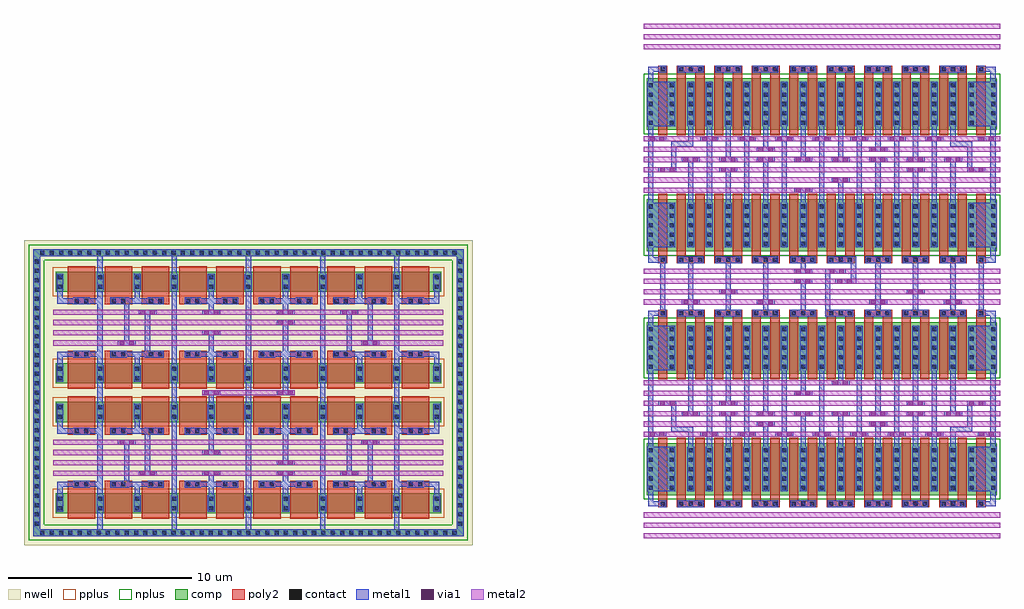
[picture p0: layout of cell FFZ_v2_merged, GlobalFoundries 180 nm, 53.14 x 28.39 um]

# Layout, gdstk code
from math import pi, radians
import gdstk
lib = gdstk.Library(unit=1e-6, precision=5e-09)
def R(c, l, rs):  # rectangles x0, y0, x1, y1
    for r in rs: c.add(gdstk.rectangle(r[:2], r[2:], *l))
def A(c, l, x, y, w, h, nx, ny, dx, dy):  # array of equal rectangles
    R(c, l, [(x+i*dx, y+j*dy, x+i*dx+w, y+j*dy+h) for i in range(nx) for j in range(ny)])
nwell = (21, 0)
comp = (22, 0)
poly2 = (30, 0)
pplus = (31, 0)
nplus = (32, 0)
contact = (33, 0)
metal1 = (34, 0)
via1 = (35, 0)
metal2 = (36, 0)

pfet = lib.new_cell('pfet')
R(pfet, nwell, [(-0.9,-0.44,20.96,1.54)])
R(pfet, comp, [(-0.46,0,0,1.1), (0,0,20.06,1.1), (20.06,0,20.52,1.1)])
A(pfet, poly2, 0.19, -0.3, 1.5, 1.7, 10, 1, 2.02, 0)
A(pfet, poly2, 0.19, 1.4, 1.5, 0.38, 10, 1, 2.02, 0)
R(pfet, pplus, [(-0.63,-0.24,20.69,1.34)])
A(pfet, contact, 1.84, 0.185, 0.22, 0.22, 9, 2, 2.02, 0.51)
R(pfet, contact, [(-0.34,0.185,-0.12,0.405), (20.18,0.185,20.4,0.405), (-0.34,0.695,-0.12,0.915), (20.18,0.695,20.4,0.915), (0.575,1.48,0.795,1.7), (1.085,1.48,1.305,1.7), (2.595,1.48,2.815,1.7), (3.105,1.48,3.325,1.7), (4.615,1.48,4.835,1.7), (5.125,1.48,5.345,1.7), (6.635,1.48,6.855,1.7), (7.145,1.48,7.365,1.7), (8.655,1.48,8.875,1.7), (9.165,1.48,9.385,1.7), (10.675,1.48,10.895,1.7), (11.185,1.48,11.405,1.7), (12.695,1.48,12.915,1.7), (13.205,1.48,13.425,1.7), (14.715,1.48,14.935,1.7), (15.225,1.48,15.445,1.7), (16.735,1.48,16.955,1.7), (17.245,1.48,17.465,1.7), (18.755,1.48,18.975,1.7), (19.265,1.48,19.485,1.7)])
A(pfet, metal1, 1.76, 0.105, 0.38, 0.89, 9, 1, 2.02, 0)
A(pfet, metal1, 0.495, 1.4, 0.89, 0.38, 10, 1, 2.02, 0)
R(pfet, metal1, [(-0.42,0.105,-0.04,0.995), (20.1,0.105,20.48,0.995)])

m1_m2 = lib.new_cell('M1_M2')
R(m1_m2, via1, [(0.1,0.01,0.36,0.27), (0.62,0.01,0.88,0.27)])
m1_m2.add(gdstk.FlexPath([(0,0.14),(0.98,0.14)], 0.28, ends="flush", simple_path=True, layer=36, datatype=0))  # metal2
m1_m2.add(gdstk.FlexPath([(0,0.14),(0.98,0.14)], 0.28, ends="flush", simple_path=True, layer=34, datatype=0))  # metal1

nfet = lib.new_cell('nfet')
R(nfet, comp, [(-0.42,0,0,2.82), (0,0,18.22,2.82), (18.22,0,18.64,2.82)])
A(nfet, poly2, 0.19, -0.3, 0.5, 3.42, 18, 1, 1.02, 0)
A(nfet, poly2, 0.19, 3.12, 0.5, 0.36, 18, 1, 1.02, 0)
R(nfet, nplus, [(-0.59,-0.24,18.81,3.06)])
A(nfet, contact, -0.32, 0.28, 0.22, 0.22, 1, 5, 0, 0.51)
A(nfet, contact, 0.84, 0.28, 0.22, 0.22, 17, 5, 1.02, 0.51)
A(nfet, contact, 18.32, 0.28, 0.22, 0.22, 1, 5, 0, 0.51)
A(nfet, contact, 0.33, 3.19, 0.22, 0.22, 18, 1, 1.02, 0)
A(nfet, metal1, 0.76, 0.2, 0.38, 2.42, 17, 1, 1.02, 0)
A(nfet, metal1, 0.25, 3.11, 0.38, 0.38, 18, 1, 1.02, 0)
R(nfet, metal1, [(-0.4,0.2,-0.02,2.62), (18.24,0.2,18.62,2.62)])

ffz_v2_merged = lib.new_cell('FFZ_v2_merged')
R(ffz_v2_merged, nwell, [(2.015,0.67,26.455,17.29), (3.305,1.96,25.165,16)])
A(ffz_v2_merged, poly2, 38.055, 2.745, 0.52, 0.36, 8, 2, 2.04, 10.38)
A(ffz_v2_merged, poly2, 38.055, 16.025, 0.52, 0.36, 8, 2, 2.04, 10.38)
A(ffz_v2_merged, contact, 2.905, 1.25, 0.22, 0.22, 45, 2, 0.51, 15.24)
A(ffz_v2_merged, contact, 2.595, 1.73, 0.22, 0.22, 1, 29, 0, 0.51)
A(ffz_v2_merged, contact, 25.655, 1.73, 0.22, 0.22, 1, 29, 0, 0.51)
A(ffz_v2_merged, contact, 38.205, 2.815, 0.22, 0.22, 8, 2, 2.04, 10.38)
A(ffz_v2_merged, contact, 38.205, 16.095, 0.22, 0.22, 8, 2, 2.04, 10.38)
A(ffz_v2_merged, metal1, 37.995, 2.735, 0.64, 0.38, 8, 2, 2.04, 10.38)
A(ffz_v2_merged, metal1, 37.995, 16.015, 0.64, 0.38, 8, 2, 2.04, 10.38)
R(ffz_v2_merged, metal1, [(36.325,3.605,37.105,6.025), (53.805,3.605,54.585,6.025), (36.325,10.205,37.105,12.625), (53.805,10.205,54.585,12.625), (36.325,16.885,37.105,19.305), (53.805,16.885,54.585,19.305), (36.325,23.485,37.105,25.905), (53.805,23.485,54.585,25.905)])
ffz_v2_merged.add(gdstk.FlexPath([(3.615,4.6),(24.855,4.6)], 0.28, ends="flush", simple_path=True, layer=36, datatype=0))  # metal2
ffz_v2_merged.add(gdstk.FlexPath([(3.615,5.16),(24.855,5.16)], 0.28, ends="flush", simple_path=True, layer=36, datatype=0))  # metal2
ffz_v2_merged.add(gdstk.FlexPath([(3.615,5.72),(24.855,5.72)], 0.28, ends="flush", simple_path=True, layer=36, datatype=0))  # metal2
ffz_v2_merged.add(gdstk.FlexPath([(3.615,6.28),(24.855,6.28)], 0.28, ends="flush", simple_path=True, layer=36, datatype=0))  # metal2
ffz_v2_merged.add(gdstk.FlexPath([(3.615,13.36),(24.855,13.36)], 0.28, ends="flush", simple_path=True, layer=36, datatype=0))  # metal2
ffz_v2_merged.add(gdstk.FlexPath([(3.615,12.8),(24.855,12.8)], 0.28, ends="flush", simple_path=True, layer=36, datatype=0))  # metal2
ffz_v2_merged.add(gdstk.FlexPath([(3.615,12.24),(24.855,12.24)], 0.28, ends="flush", simple_path=True, layer=36, datatype=0))  # metal2
ffz_v2_merged.add(gdstk.FlexPath([(3.615,11.68),(24.855,11.68)], 0.28, ends="flush", simple_path=True, layer=36, datatype=0))  # metal2
ffz_v2_merged.add(gdstk.FlexPath([(12.705,8.98),(15.765,8.98)], 0.28, ends="flush", simple_path=True, layer=36, datatype=0))  # metal2
ffz_v2_merged.add(gdstk.FlexPath([(35.755,9.515),(55.155,9.515)], 0.28, ends="flush", simple_path=True, layer=36, datatype=0))  # metal2
ffz_v2_merged.add(gdstk.FlexPath([(35.755,8.395),(55.155,8.395)], 0.28, ends="flush", simple_path=True, layer=36, datatype=0))  # metal2
ffz_v2_merged.add(gdstk.FlexPath([(35.755,8.955),(55.155,8.955)], 0.28, ends="flush", simple_path=True, layer=36, datatype=0))  # metal2
ffz_v2_merged.add(gdstk.FlexPath([(35.755,7.835),(55.155,7.835)], 0.28, ends="flush", simple_path=True, layer=36, datatype=0))  # metal2
ffz_v2_merged.add(gdstk.FlexPath([(35.755,6.715),(55.155,6.715)], 0.28, ends="flush", simple_path=True, layer=36, datatype=0))  # metal2
ffz_v2_merged.add(gdstk.FlexPath([(35.755,7.275),(55.155,7.275)], 0.28, ends="flush", simple_path=True, layer=36, datatype=0))  # metal2
ffz_v2_merged.add(gdstk.FlexPath([(35.755,13.915),(55.155,13.915)], 0.28, ends="flush", simple_path=True, layer=36, datatype=0))  # metal2
ffz_v2_merged.add(gdstk.FlexPath([(35.755,14.475),(55.155,14.475)], 0.28, ends="flush", simple_path=True, layer=36, datatype=0))  # metal2
ffz_v2_merged.add(gdstk.FlexPath([(35.755,15.035),(55.155,15.035)], 0.28, ends="flush", simple_path=True, layer=36, datatype=0))  # metal2
ffz_v2_merged.add(gdstk.FlexPath([(35.755,15.595),(55.155,15.595)], 0.28, ends="flush", simple_path=True, layer=36, datatype=0))  # metal2
ffz_v2_merged.add(gdstk.FlexPath([(35.755,22.235),(55.155,22.235)], 0.28, ends="flush", simple_path=True, layer=36, datatype=0))  # metal2
ffz_v2_merged.add(gdstk.FlexPath([(35.755,22.795),(55.155,22.795)], 0.28, ends="flush", simple_path=True, layer=36, datatype=0))  # metal2
ffz_v2_merged.add(gdstk.FlexPath([(35.755,21.675),(55.155,21.675)], 0.28, ends="flush", simple_path=True, layer=36, datatype=0))  # metal2
ffz_v2_merged.add(gdstk.FlexPath([(35.755,20.555),(55.155,20.555)], 0.28, ends="flush", simple_path=True, layer=36, datatype=0))  # metal2
ffz_v2_merged.add(gdstk.FlexPath([(35.755,21.115),(55.155,21.115)], 0.28, ends="flush", simple_path=True, layer=36, datatype=0))  # metal2
ffz_v2_merged.add(gdstk.FlexPath([(35.755,19.995),(55.155,19.995)], 0.28, ends="flush", simple_path=True, layer=36, datatype=0))  # metal2
ffz_v2_merged.add(gdstk.FlexPath([(35.755,2.315),(55.155,2.315)], 0.28, ends="flush", simple_path=True, layer=36, datatype=0))  # metal2
ffz_v2_merged.add(gdstk.FlexPath([(35.755,1.755),(55.155,1.755)], 0.28, ends="flush", simple_path=True, layer=36, datatype=0))  # metal2
ffz_v2_merged.add(gdstk.FlexPath([(35.755,1.195),(55.155,1.195)], 0.28, ends="flush", simple_path=True, layer=36, datatype=0))  # metal2
ffz_v2_merged.add(gdstk.FlexPath([(35.755,28.925),(55.155,28.925)], 0.28, ends="flush", simple_path=True, layer=36, datatype=0))  # metal2
ffz_v2_merged.add(gdstk.FlexPath([(35.755,28.365),(55.155,28.365)], 0.28, ends="flush", simple_path=True, layer=36, datatype=0))  # metal2
ffz_v2_merged.add(gdstk.FlexPath([(35.755,27.805),(55.155,27.805)], 0.28, ends="flush", simple_path=True, layer=36, datatype=0))  # metal2
ffz_v2_merged.add(gdstk.FlexPath([(3.975,14.565),(3.975,13.97),(4.7,13.97)], 0.28, ends="flush", simple_path=True, layer=34, datatype=0))  # metal1
ffz_v2_merged.add(gdstk.FlexPath([(7.61,13.97),(8.74,13.97)], 0.28, ends="flush", simple_path=True, layer=34, datatype=0))  # metal1
ffz_v2_merged.add(gdstk.FlexPath([(8.175,14.565),(8.175,13.83)], 0.28, ends="flush", simple_path=True, layer=34, datatype=0))  # metal1
ffz_v2_merged.add(gdstk.FlexPath([(11.65,13.97),(12.78,13.97)], 0.28, ends="flush", simple_path=True, layer=34, datatype=0))  # metal1
ffz_v2_merged.add(gdstk.FlexPath([(12.215,14.565),(12.215,13.83)], 0.28, ends="flush", simple_path=True, layer=34, datatype=0))  # metal1
ffz_v2_merged.add(gdstk.FlexPath([(15.69,13.97),(16.82,13.97)], 0.28, ends="flush", simple_path=True, layer=34, datatype=0))  # metal1
ffz_v2_merged.add(gdstk.FlexPath([(16.255,14.565),(16.255,13.83)], 0.28, ends="flush", simple_path=True, layer=34, datatype=0))  # metal1
ffz_v2_merged.add(gdstk.FlexPath([(19.73,13.97),(20.86,13.97)], 0.28, ends="flush", simple_path=True, layer=34, datatype=0))  # metal1
ffz_v2_merged.add(gdstk.FlexPath([(20.295,14.565),(20.295,13.83)], 0.28, ends="flush", simple_path=True, layer=34, datatype=0))  # metal1
ffz_v2_merged.add(gdstk.FlexPath([(24.495,14.565),(24.495,13.97),(23.77,13.97)], 0.28, ends="flush", simple_path=True, layer=34, datatype=0))  # metal1
ffz_v2_merged.add(gdstk.FlexPath([(22.315,14.565),(22.315,13.97),(22.88,13.97)], 0.28, ends="flush", simple_path=True, layer=34, datatype=0))  # metal1
ffz_v2_merged.add(gdstk.FlexPath([(6.155,14.565),(6.155,13.97),(5.59,13.97)], 0.28, ends="flush", simple_path=True, layer=34, datatype=0))  # metal1
ffz_v2_merged.add(gdstk.FlexPath([(7.61,14.16),(7.61,11.82)], 0.28, ends="flush", simple_path=True, layer=34, datatype=0))  # metal1
ffz_v2_merged.add(gdstk.FlexPath([(20.86,14.16),(20.86,11.82)], 0.28, ends="flush", simple_path=True, layer=34, datatype=0))  # metal1
ffz_v2_merged.add(gdstk.FlexPath([(22.315,13.97),(22.315,11.07)], 0.28, ends="flush", simple_path=True, layer=34, datatype=0))  # metal1
ffz_v2_merged.add(gdstk.FlexPath([(6.155,13.97),(6.155,11.07)], 0.28, ends="flush", simple_path=True, layer=34, datatype=0))  # metal1
ffz_v2_merged.add(gdstk.FlexPath([(10.195,3.395),(10.195,14.565)], 0.28, ends="flush", simple_path=True, layer=34, datatype=0))  # metal1
ffz_v2_merged.add(gdstk.FlexPath([(14.235,3.395),(14.235,14.565)], 0.28, ends="flush", simple_path=True, layer=34, datatype=0))  # metal1
ffz_v2_merged.add(gdstk.FlexPath([(18.275,3.395),(18.275,14.565)], 0.28, ends="flush", simple_path=True, layer=34, datatype=0))  # metal1
ffz_v2_merged.add(gdstk.FlexPath([(2.705,16.6),(2.705,1.36),(25.765,1.36),(25.765,16.6),(2.515,16.6)], 0.38, ends="flush", simple_path=True, layer=34, datatype=0))  # metal1
ffz_v2_merged.add(gdstk.FlexPath([(36.785,13.495),(36.785,16.015)], 0.28, ends="flush", simple_path=True, layer=34, datatype=0))  # metal1
ffz_v2_merged.add(gdstk.FlexPath([(54.125,13.495),(54.125,16.015)], 0.28, ends="flush", simple_path=True, layer=34, datatype=0))  # metal1
ffz_v2_merged.add(gdstk.FlexPath([(38.315,16.015),(38.315,13.495)], 0.28, ends="flush", simple_path=True, layer=34, datatype=0))  # metal1
ffz_v2_merged.add(gdstk.FlexPath([(40.355,16.015),(40.355,13.495)], 0.28, ends="flush", simple_path=True, layer=34, datatype=0))  # metal1
ffz_v2_merged.add(gdstk.FlexPath([(42.395,16.015),(42.395,13.495)], 0.28, ends="flush", simple_path=True, layer=34, datatype=0))  # metal1
ffz_v2_merged.add(gdstk.FlexPath([(44.435,13.495),(44.435,14.895)], 0.28, ends="flush", simple_path=True, layer=34, datatype=0))  # metal1
ffz_v2_merged.add(gdstk.FlexPath([(48.515,16.015),(48.515,13.495)], 0.28, ends="flush", simple_path=True, layer=34, datatype=0))  # metal1
ffz_v2_merged.add(gdstk.FlexPath([(50.555,16.015),(50.555,13.495)], 0.28, ends="flush", simple_path=True, layer=34, datatype=0))  # metal1
ffz_v2_merged.add(gdstk.FlexPath([(52.595,16.015),(52.595,13.495)], 0.28, ends="flush", simple_path=True, layer=34, datatype=0))  # metal1
ffz_v2_merged.add(gdstk.FlexPath([(45.775,13.115),(45.775,15.735)], 0.28, ends="flush", simple_path=True, layer=34, datatype=0))  # metal1
ffz_v2_merged.add(gdstk.FlexPath([(44.435,19.305),(44.435,19.855)], 0.28, ends="flush", simple_path=True, layer=34, datatype=0))  # metal1
ffz_v2_merged.add(gdstk.FlexPath([(46.475,23.485),(46.475,21.815)], 0.28, ends="flush", simple_path=True, layer=34, datatype=0))  # metal1
ffz_v2_merged.add(gdstk.FlexPath([(48.515,19.305),(48.515,21.535)], 0.28, ends="flush", simple_path=True, layer=34, datatype=0))  # metal1
ffz_v2_merged.add(gdstk.FlexPath([(50.555,23.485),(50.555,21.815)], 0.28, ends="flush", simple_path=True, layer=34, datatype=0))  # metal1
ffz_v2_merged.add(gdstk.FlexPath([(50.555,19.305),(50.555,20.975)], 0.28, ends="flush", simple_path=True, layer=34, datatype=0))  # metal1
ffz_v2_merged.add(gdstk.FlexPath([(48.515,23.485),(48.515,22.375)], 0.28, ends="flush", simple_path=True, layer=34, datatype=0))  # metal1
ffz_v2_merged.add(gdstk.FlexPath([(47.495,23.485),(47.495,19.305)], 0.28, ends="flush", simple_path=True, layer=34, datatype=0))  # metal1
ffz_v2_merged.add(gdstk.FlexPath([(49.535,23.485),(49.535,19.305)], 0.28, ends="flush", simple_path=True, layer=34, datatype=0))  # metal1
ffz_v2_merged.add(gdstk.FlexPath([(51.575,23.485),(51.575,19.305)], 0.28, ends="flush", simple_path=True, layer=34, datatype=0))  # metal1
ffz_v2_merged.add(gdstk.FlexPath([(52.595,19.305),(52.595,21.535)], 0.28, ends="flush", simple_path=True, layer=34, datatype=0))  # metal1
ffz_v2_merged.add(gdstk.FlexPath([(52.595,23.485),(52.595,22.515),(53.515,22.515),(53.515,21.255)], 0.28, ends="flush", simple_path=True, layer=34, datatype=0))  # metal1
ffz_v2_merged.add(gdstk.FlexPath([(54.775,19.305),(54.775,23.485)], 0.28, ends="flush", simple_path=True, layer=34, datatype=0))  # metal1
ffz_v2_merged.add(gdstk.FlexPath([(44.435,23.485),(44.435,21.815)], 0.28, ends="flush", simple_path=True, layer=34, datatype=0))  # metal1
ffz_v2_merged.add(gdstk.FlexPath([(51.575,19.305),(51.575,23.485)], 0.28, ends="flush", simple_path=True, layer=34, datatype=0))  # metal1
ffz_v2_merged.add(gdstk.FlexPath([(49.535,23.485),(49.535,19.305)], 0.28, ends="flush", simple_path=True, layer=34, datatype=0))  # metal1
ffz_v2_merged.add(gdstk.FlexPath([(47.495,23.485),(47.495,19.305)], 0.28, ends="flush", simple_path=True, layer=34, datatype=0))  # metal1
ffz_v2_merged.add(gdstk.FlexPath([(45.455,19.305),(45.455,23.485)], 0.28, ends="flush", simple_path=True, layer=34, datatype=0))  # metal1
ffz_v2_merged.add(gdstk.FlexPath([(42.395,19.305),(42.395,21.535)], 0.28, ends="flush", simple_path=True, layer=34, datatype=0))  # metal1
ffz_v2_merged.add(gdstk.FlexPath([(40.355,23.485),(40.355,21.815)], 0.28, ends="flush", simple_path=True, layer=34, datatype=0))  # metal1
ffz_v2_merged.add(gdstk.FlexPath([(40.355,19.305),(40.355,20.975)], 0.28, ends="flush", simple_path=True, layer=34, datatype=0))  # metal1
ffz_v2_merged.add(gdstk.FlexPath([(42.395,23.485),(42.395,22.375)], 0.28, ends="flush", simple_path=True, layer=34, datatype=0))  # metal1
ffz_v2_merged.add(gdstk.FlexPath([(43.415,23.485),(43.415,19.305)], 0.28, ends="flush", simple_path=True, layer=34, datatype=0))  # metal1
ffz_v2_merged.add(gdstk.FlexPath([(41.375,23.485),(41.375,19.305)], 0.28, ends="flush", simple_path=True, layer=34, datatype=0))  # metal1
ffz_v2_merged.add(gdstk.FlexPath([(39.335,23.485),(39.335,19.305)], 0.28, ends="flush", simple_path=True, layer=34, datatype=0))  # metal1
ffz_v2_merged.add(gdstk.FlexPath([(38.315,19.305),(38.315,21.535)], 0.28, ends="flush", simple_path=True, layer=34, datatype=0))  # metal1
ffz_v2_merged.add(gdstk.FlexPath([(38.315,23.485),(38.315,22.515),(37.395,22.515),(37.395,21.255)], 0.28, ends="flush", simple_path=True, layer=34, datatype=0))  # metal1
ffz_v2_merged.add(gdstk.FlexPath([(54.775,22.925),(54.775,19.305)], 0.28, ends="flush", simple_path=True, layer=34, datatype=0))  # metal1
ffz_v2_merged.add(gdstk.FlexPath([(36.135,19.305),(36.135,23.485)], 0.28, ends="flush", simple_path=True, layer=34, datatype=0))  # metal1
ffz_v2_merged.add(gdstk.FlexPath([(54.775,25.905),(54.775,26.585),(54.315,26.585)], 0.28, ends="flush", simple_path=True, layer=34, datatype=0))  # metal1
ffz_v2_merged.add(gdstk.FlexPath([(47.175,16.395),(47.175,14.895)], 0.28, ends="flush", simple_path=True, layer=34, datatype=0))  # metal1
ffz_v2_merged.add(gdstk.FlexPath([(36.135,25.905),(36.135,26.585),(36.595,26.585)], 0.28, ends="flush", simple_path=True, layer=34, datatype=0))  # metal1
ffz_v2_merged.add(gdstk.FlexPath([(54.775,16.885),(54.775,16.205),(54.315,16.205)], 0.28, ends="flush", simple_path=True, layer=34, datatype=0))  # metal1
ffz_v2_merged.add(gdstk.FlexPath([(36.135,16.885),(36.135,16.205),(36.595,16.205)], 0.28, ends="flush", simple_path=True, layer=34, datatype=0))  # metal1
ffz_v2_merged.add(gdstk.FlexPath([(44.435,16.015),(44.435,15.735)], 0.28, ends="flush", simple_path=True, layer=34, datatype=0))  # metal1
ffz_v2_merged.add(gdstk.FlexPath([(46.475,19.305),(46.475,20.415)], 0.28, ends="flush", simple_path=True, layer=34, datatype=0))  # metal1
ffz_v2_merged.add(gdstk.FlexPath([(6.155,16.41),(6.155,15.455)], 0.28, ends="flush", simple_path=True, layer=34, datatype=0))  # metal1
ffz_v2_merged.add(gdstk.FlexPath([(10.195,16.41),(10.195,15.455)], 0.28, ends="flush", simple_path=True, layer=34, datatype=0))  # metal1
ffz_v2_merged.add(gdstk.FlexPath([(14.235,16.41),(14.235,15.455)], 0.28, ends="flush", simple_path=True, layer=34, datatype=0))  # metal1
ffz_v2_merged.add(gdstk.FlexPath([(18.275,16.41),(18.275,15.455)], 0.28, ends="flush", simple_path=True, layer=34, datatype=0))  # metal1
ffz_v2_merged.add(gdstk.FlexPath([(22.315,16.41),(22.315,15.455)], 0.28, ends="flush", simple_path=True, layer=34, datatype=0))  # metal1
ffz_v2_merged.add(gdstk.FlexPath([(15.69,6.89),(16.82,6.89)], 0.28, ends="flush", simple_path=True, layer=34, datatype=0))  # metal1
ffz_v2_merged.add(gdstk.FlexPath([(16.255,7.485),(16.255,6.75)], 0.28, ends="flush", simple_path=True, layer=34, datatype=0))  # metal1
ffz_v2_merged.add(gdstk.FlexPath([(12.215,8.375),(12.215,8.98)], 0.28, ends="flush", simple_path=True, layer=34, datatype=0))  # metal1
ffz_v2_merged.add(gdstk.FlexPath([(16.255,9.585),(16.255,8.98)], 0.28, ends="flush", simple_path=True, layer=34, datatype=0))  # metal1
ffz_v2_merged.add(gdstk.FlexPath([(22.315,8.375),(22.315,9.585)], 0.28, ends="flush", simple_path=True, layer=34, datatype=0))  # metal1
ffz_v2_merged.add(gdstk.FlexPath([(19.73,6.89),(20.86,6.89)], 0.28, ends="flush", simple_path=True, layer=34, datatype=0))  # metal1
ffz_v2_merged.add(gdstk.FlexPath([(6.155,2.505),(6.155,1.55)], 0.28, ends="flush", simple_path=True, layer=34, datatype=0))  # metal1
ffz_v2_merged.add(gdstk.FlexPath([(10.195,2.505),(10.195,1.55)], 0.28, ends="flush", simple_path=True, layer=34, datatype=0))  # metal1
ffz_v2_merged.add(gdstk.FlexPath([(14.235,2.505),(14.235,1.55)], 0.28, ends="flush", simple_path=True, layer=34, datatype=0))  # metal1
ffz_v2_merged.add(gdstk.FlexPath([(18.275,2.505),(18.275,1.55)], 0.28, ends="flush", simple_path=True, layer=34, datatype=0))  # metal1
ffz_v2_merged.add(gdstk.FlexPath([(22.315,2.505),(22.315,1.55)], 0.28, ends="flush", simple_path=True, layer=34, datatype=0))  # metal1
ffz_v2_merged.add(gdstk.FlexPath([(20.295,7.485),(20.295,6.75)], 0.28, ends="flush", simple_path=True, layer=34, datatype=0))  # metal1
ffz_v2_merged.add(gdstk.FlexPath([(24.495,7.485),(24.495,6.89),(23.77,6.89)], 0.28, ends="flush", simple_path=True, layer=34, datatype=0))  # metal1
ffz_v2_merged.add(gdstk.FlexPath([(22.315,7.485),(22.315,6.89),(22.88,6.89)], 0.28, ends="flush", simple_path=True, layer=34, datatype=0))  # metal1
ffz_v2_merged.add(gdstk.FlexPath([(6.155,7.485),(6.155,6.89),(5.59,6.89)], 0.28, ends="flush", simple_path=True, layer=34, datatype=0))  # metal1
ffz_v2_merged.add(gdstk.FlexPath([(8.74,7.08),(8.74,4.74)], 0.28, ends="flush", simple_path=True, layer=34, datatype=0))  # metal1
ffz_v2_merged.add(gdstk.FlexPath([(7.61,3.8),(7.61,6.14)], 0.28, ends="flush", simple_path=True, layer=34, datatype=0))  # metal1
ffz_v2_merged.add(gdstk.FlexPath([(12.215,4.13),(12.215,4.46)], 0.28, ends="flush", simple_path=True, layer=34, datatype=0))  # metal1
ffz_v2_merged.add(gdstk.FlexPath([(12.215,6.75),(12.215,5.86)], 0.28, ends="flush", simple_path=True, layer=34, datatype=0))  # metal1
ffz_v2_merged.add(gdstk.FlexPath([(16.255,4.13),(16.255,4.46)], 0.28, ends="flush", simple_path=True, layer=34, datatype=0))  # metal1
ffz_v2_merged.add(gdstk.FlexPath([(16.255,6.75),(16.255,5.3)], 0.28, ends="flush", simple_path=True, layer=34, datatype=0))  # metal1
ffz_v2_merged.add(gdstk.FlexPath([(20.86,3.8),(20.86,6.14)], 0.28, ends="flush", simple_path=True, layer=34, datatype=0))  # metal1
ffz_v2_merged.add(gdstk.FlexPath([(19.73,7.08),(19.73,4.74)], 0.28, ends="flush", simple_path=True, layer=34, datatype=0))  # metal1
ffz_v2_merged.add(gdstk.FlexPath([(22.315,3.99),(22.315,6.89)], 0.28, ends="flush", simple_path=True, layer=34, datatype=0))  # metal1
ffz_v2_merged.add(gdstk.FlexPath([(6.155,3.99),(6.155,6.89)], 0.28, ends="flush", simple_path=True, layer=34, datatype=0))  # metal1
ffz_v2_merged.add(gdstk.FlexPath([(3.975,3.395),(3.975,3.99),(4.7,3.99)], 0.28, ends="flush", simple_path=True, layer=34, datatype=0))  # metal1
ffz_v2_merged.add(gdstk.FlexPath([(7.61,3.99),(8.74,3.99)], 0.28, ends="flush", simple_path=True, layer=34, datatype=0))  # metal1
ffz_v2_merged.add(gdstk.FlexPath([(8.175,3.395),(8.175,4.13)], 0.28, ends="flush", simple_path=True, layer=34, datatype=0))  # metal1
ffz_v2_merged.add(gdstk.FlexPath([(11.65,3.99),(12.78,3.99)], 0.28, ends="flush", simple_path=True, layer=34, datatype=0))  # metal1
ffz_v2_merged.add(gdstk.FlexPath([(12.215,3.395),(12.215,4.13)], 0.28, ends="flush", simple_path=True, layer=34, datatype=0))  # metal1
ffz_v2_merged.add(gdstk.FlexPath([(15.69,3.99),(16.82,3.99)], 0.28, ends="flush", simple_path=True, layer=34, datatype=0))  # metal1
ffz_v2_merged.add(gdstk.FlexPath([(16.255,3.395),(16.255,4.13)], 0.28, ends="flush", simple_path=True, layer=34, datatype=0))  # metal1
ffz_v2_merged.add(gdstk.FlexPath([(19.73,3.99),(20.86,3.99)], 0.28, ends="flush", simple_path=True, layer=34, datatype=0))  # metal1
ffz_v2_merged.add(gdstk.FlexPath([(20.295,3.395),(20.295,4.13)], 0.28, ends="flush", simple_path=True, layer=34, datatype=0))  # metal1
ffz_v2_merged.add(gdstk.FlexPath([(24.495,3.395),(24.495,3.99),(23.77,3.99)], 0.28, ends="flush", simple_path=True, layer=34, datatype=0))  # metal1
ffz_v2_merged.add(gdstk.FlexPath([(22.315,3.395),(22.315,3.99),(22.88,3.99)], 0.28, ends="flush", simple_path=True, layer=34, datatype=0))  # metal1
ffz_v2_merged.add(gdstk.FlexPath([(6.155,3.395),(6.155,3.99),(5.59,3.99)], 0.28, ends="flush", simple_path=True, layer=34, datatype=0))  # metal1
ffz_v2_merged.add(gdstk.FlexPath([(3.975,10.475),(3.975,11.07),(4.7,11.07)], 0.28, ends="flush", simple_path=True, layer=34, datatype=0))  # metal1
ffz_v2_merged.add(gdstk.FlexPath([(7.61,11.07),(8.74,11.07)], 0.28, ends="flush", simple_path=True, layer=34, datatype=0))  # metal1
ffz_v2_merged.add(gdstk.FlexPath([(8.175,10.475),(8.175,11.21)], 0.28, ends="flush", simple_path=True, layer=34, datatype=0))  # metal1
ffz_v2_merged.add(gdstk.FlexPath([(11.65,11.07),(12.78,11.07)], 0.28, ends="flush", simple_path=True, layer=34, datatype=0))  # metal1
ffz_v2_merged.add(gdstk.FlexPath([(12.215,10.475),(12.215,11.21)], 0.28, ends="flush", simple_path=True, layer=34, datatype=0))  # metal1
ffz_v2_merged.add(gdstk.FlexPath([(15.69,11.07),(16.82,11.07)], 0.28, ends="flush", simple_path=True, layer=34, datatype=0))  # metal1
ffz_v2_merged.add(gdstk.FlexPath([(16.255,10.475),(16.255,11.21)], 0.28, ends="flush", simple_path=True, layer=34, datatype=0))  # metal1
ffz_v2_merged.add(gdstk.FlexPath([(19.73,11.07),(20.86,11.07)], 0.28, ends="flush", simple_path=True, layer=34, datatype=0))  # metal1
ffz_v2_merged.add(gdstk.FlexPath([(20.295,10.475),(20.295,11.21)], 0.28, ends="flush", simple_path=True, layer=34, datatype=0))  # metal1
ffz_v2_merged.add(gdstk.FlexPath([(24.495,10.475),(24.495,11.07),(23.77,11.07)], 0.28, ends="flush", simple_path=True, layer=34, datatype=0))  # metal1
ffz_v2_merged.add(gdstk.FlexPath([(22.315,10.475),(22.315,11.07),(22.88,11.07)], 0.28, ends="flush", simple_path=True, layer=34, datatype=0))  # metal1
ffz_v2_merged.add(gdstk.FlexPath([(6.155,10.475),(6.155,11.07),(5.59,11.07)], 0.28, ends="flush", simple_path=True, layer=34, datatype=0))  # metal1
ffz_v2_merged.add(gdstk.FlexPath([(8.74,10.88),(8.74,13.22)], 0.28, ends="flush", simple_path=True, layer=34, datatype=0))  # metal1
ffz_v2_merged.add(gdstk.FlexPath([(3.975,7.485),(3.975,6.89),(4.7,6.89)], 0.28, ends="flush", simple_path=True, layer=34, datatype=0))  # metal1
ffz_v2_merged.add(gdstk.FlexPath([(12.215,13.83),(12.215,13.5)], 0.28, ends="flush", simple_path=True, layer=34, datatype=0))  # metal1
ffz_v2_merged.add(gdstk.FlexPath([(12.215,11.21),(12.215,12.1)], 0.28, ends="flush", simple_path=True, layer=34, datatype=0))  # metal1
ffz_v2_merged.add(gdstk.FlexPath([(16.255,13.83),(16.255,13.5)], 0.28, ends="flush", simple_path=True, layer=34, datatype=0))  # metal1
ffz_v2_merged.add(gdstk.FlexPath([(16.255,11.21),(16.255,12.66)], 0.28, ends="flush", simple_path=True, layer=34, datatype=0))  # metal1
ffz_v2_merged.add(gdstk.FlexPath([(7.61,6.89),(8.74,6.89)], 0.28, ends="flush", simple_path=True, layer=34, datatype=0))  # metal1
ffz_v2_merged.add(gdstk.FlexPath([(19.73,10.88),(19.73,13.22)], 0.28, ends="flush", simple_path=True, layer=34, datatype=0))  # metal1
ffz_v2_merged.add(gdstk.FlexPath([(8.175,7.485),(8.175,6.75)], 0.28, ends="flush", simple_path=True, layer=34, datatype=0))  # metal1
ffz_v2_merged.add(gdstk.FlexPath([(11.65,6.89),(12.78,6.89)], 0.28, ends="flush", simple_path=True, layer=34, datatype=0))  # metal1
ffz_v2_merged.add(gdstk.FlexPath([(6.155,8.375),(6.155,9.585)], 0.28, ends="flush", simple_path=True, layer=34, datatype=0))  # metal1
ffz_v2_merged.add(gdstk.FlexPath([(12.215,7.485),(12.215,6.75)], 0.28, ends="flush", simple_path=True, layer=34, datatype=0))  # metal1
ffz_v2_merged.add(gdstk.FlexPath([(40.355,10.205),(40.355,8.535)], 0.28, ends="flush", simple_path=True, layer=34, datatype=0))  # metal1
ffz_v2_merged.add(gdstk.FlexPath([(40.355,6.025),(40.355,7.695)], 0.28, ends="flush", simple_path=True, layer=34, datatype=0))  # metal1
ffz_v2_merged.add(gdstk.FlexPath([(42.395,10.205),(42.395,7.975)], 0.28, ends="flush", simple_path=True, layer=34, datatype=0))  # metal1
ffz_v2_merged.add(gdstk.FlexPath([(45.455,10.205),(45.455,6.025)], 0.28, ends="flush", simple_path=True, layer=34, datatype=0))  # metal1
ffz_v2_merged.add(gdstk.FlexPath([(47.495,6.025),(47.495,10.205)], 0.28, ends="flush", simple_path=True, layer=34, datatype=0))  # metal1
ffz_v2_merged.add(gdstk.FlexPath([(49.535,6.025),(49.535,10.205)], 0.28, ends="flush", simple_path=True, layer=34, datatype=0))  # metal1
ffz_v2_merged.add(gdstk.FlexPath([(51.575,10.205),(51.575,6.025)], 0.28, ends="flush", simple_path=True, layer=34, datatype=0))  # metal1
ffz_v2_merged.add(gdstk.FlexPath([(44.435,6.025),(44.435,7.695)], 0.28, ends="flush", simple_path=True, layer=34, datatype=0))  # metal1
ffz_v2_merged.add(gdstk.FlexPath([(54.775,10.205),(54.775,6.025)], 0.28, ends="flush", simple_path=True, layer=34, datatype=0))  # metal1
ffz_v2_merged.add(gdstk.FlexPath([(52.595,6.025),(52.595,6.995),(53.515,6.995),(53.515,8.255)], 0.28, ends="flush", simple_path=True, layer=34, datatype=0))  # metal1
ffz_v2_merged.add(gdstk.FlexPath([(52.595,10.205),(52.595,7.975)], 0.28, ends="flush", simple_path=True, layer=34, datatype=0))  # metal1
ffz_v2_merged.add(gdstk.FlexPath([(51.575,6.025),(51.575,10.205)], 0.28, ends="flush", simple_path=True, layer=34, datatype=0))  # metal1
ffz_v2_merged.add(gdstk.FlexPath([(49.535,6.025),(49.535,10.205)], 0.28, ends="flush", simple_path=True, layer=34, datatype=0))  # metal1
ffz_v2_merged.add(gdstk.FlexPath([(47.495,6.025),(47.495,10.205)], 0.28, ends="flush", simple_path=True, layer=34, datatype=0))  # metal1
ffz_v2_merged.add(gdstk.FlexPath([(48.515,6.025),(48.515,7.135)], 0.28, ends="flush", simple_path=True, layer=34, datatype=0))  # metal1
ffz_v2_merged.add(gdstk.FlexPath([(50.555,10.205),(50.555,8.535)], 0.28, ends="flush", simple_path=True, layer=34, datatype=0))  # metal1
ffz_v2_merged.add(gdstk.FlexPath([(50.555,6.025),(50.555,7.695)], 0.28, ends="flush", simple_path=True, layer=34, datatype=0))  # metal1
ffz_v2_merged.add(gdstk.FlexPath([(48.515,10.205),(48.515,7.975)], 0.28, ends="flush", simple_path=True, layer=34, datatype=0))  # metal1
ffz_v2_merged.add(gdstk.FlexPath([(46.475,6.025),(46.475,7.695)], 0.28, ends="flush", simple_path=True, layer=34, datatype=0))  # metal1
ffz_v2_merged.add(gdstk.FlexPath([(46.475,10.205),(46.475,9.655)], 0.28, ends="flush", simple_path=True, layer=34, datatype=0))  # metal1
ffz_v2_merged.add(gdstk.FlexPath([(44.435,10.205),(44.435,9.095)], 0.28, ends="flush", simple_path=True, layer=34, datatype=0))  # metal1
ffz_v2_merged.add(gdstk.FlexPath([(36.135,12.625),(36.135,13.305),(36.595,13.305)], 0.28, ends="flush", simple_path=True, layer=34, datatype=0))  # metal1
ffz_v2_merged.add(gdstk.FlexPath([(54.775,12.625),(54.775,13.305),(54.315,13.305)], 0.28, ends="flush", simple_path=True, layer=34, datatype=0))  # metal1
ffz_v2_merged.add(gdstk.FlexPath([(36.135,3.605),(36.135,2.925),(36.595,2.925)], 0.28, ends="flush", simple_path=True, layer=34, datatype=0))  # metal1
ffz_v2_merged.add(gdstk.FlexPath([(54.775,3.605),(54.775,2.925),(54.315,2.925)], 0.28, ends="flush", simple_path=True, layer=34, datatype=0))  # metal1
ffz_v2_merged.add(gdstk.FlexPath([(36.135,10.205),(36.135,6.025)], 0.28, ends="flush", simple_path=True, layer=34, datatype=0))  # metal1
ffz_v2_merged.add(gdstk.FlexPath([(54.775,6.585),(54.775,10.205)], 0.28, ends="flush", simple_path=True, layer=34, datatype=0))  # metal1
ffz_v2_merged.add(gdstk.FlexPath([(38.315,6.025),(38.315,6.995),(37.395,6.995),(37.395,8.255)], 0.28, ends="flush", simple_path=True, layer=34, datatype=0))  # metal1
ffz_v2_merged.add(gdstk.FlexPath([(38.315,10.205),(38.315,7.975)], 0.28, ends="flush", simple_path=True, layer=34, datatype=0))  # metal1
ffz_v2_merged.add(gdstk.FlexPath([(39.335,6.025),(39.335,10.205)], 0.28, ends="flush", simple_path=True, layer=34, datatype=0))  # metal1
ffz_v2_merged.add(gdstk.FlexPath([(41.375,6.025),(41.375,10.205)], 0.28, ends="flush", simple_path=True, layer=34, datatype=0))  # metal1
ffz_v2_merged.add(gdstk.FlexPath([(43.415,6.025),(43.415,10.205)], 0.28, ends="flush", simple_path=True, layer=34, datatype=0))  # metal1
ffz_v2_merged.add(gdstk.FlexPath([(42.395,6.025),(42.395,7.135)], 0.28, ends="flush", simple_path=True, layer=34, datatype=0))  # metal1
ffz_v2_merged.add(gdstk.FlexPath([(2.705,16.6),(2.705,1.36),(25.765,1.36),(25.765,16.6),(2.285,16.6)], 0.84, ends="flush", simple_path=True, layer=32, datatype=0))  # nplus
ffz_v2_merged.add(gdstk.FlexPath([(2.705,16.6),(2.705,1.36),(25.765,1.36),(25.765,16.6),(2.515,16.6)], 0.38, ends="flush", simple_path=True, layer=22, datatype=0))  # comp
ffz_v2_merged.add(gdstk.Reference(pfet, (4.205,2.4)))
ffz_v2_merged.add(gdstk.Reference(pfet, (4.205,8.48), x_reflection=True))
ffz_v2_merged.add(gdstk.Reference(m1_m2, (20.37,6.14)))
ffz_v2_merged.add(gdstk.Reference(m1_m2, (19.24,4.46)))
ffz_v2_merged.add(gdstk.Reference(m1_m2, (15.765,4.46)))
ffz_v2_merged.add(gdstk.Reference(m1_m2, (15.765,5.02)))
ffz_v2_merged.add(gdstk.Reference(m1_m2, (11.725,5.58)))
ffz_v2_merged.add(gdstk.Reference(m1_m2, (11.725,4.46)))
ffz_v2_merged.add(gdstk.Reference(m1_m2, (8.25,4.46)))
ffz_v2_merged.add(gdstk.Reference(m1_m2, (7.12,6.14)))
ffz_v2_merged.add(gdstk.Reference(pfet, (4.205,15.56), x_reflection=True))
ffz_v2_merged.add(gdstk.Reference(pfet, (4.205,9.48)))
ffz_v2_merged.add(gdstk.Reference(m1_m2, (20.37,11.82), x_reflection=True))
ffz_v2_merged.add(gdstk.Reference(m1_m2, (19.24,13.5), x_reflection=True))
ffz_v2_merged.add(gdstk.Reference(m1_m2, (15.765,13.5), x_reflection=True))
ffz_v2_merged.add(gdstk.Reference(m1_m2, (15.765,12.94), x_reflection=True))
ffz_v2_merged.add(gdstk.Reference(m1_m2, (11.725,12.38), x_reflection=True))
ffz_v2_merged.add(gdstk.Reference(m1_m2, (11.725,13.5), x_reflection=True))
ffz_v2_merged.add(gdstk.Reference(m1_m2, (8.25,13.5), x_reflection=True))
ffz_v2_merged.add(gdstk.Reference(m1_m2, (7.12,11.82), x_reflection=True))
ffz_v2_merged.add(gdstk.Reference(m1_m2, (11.725,8.84)))
ffz_v2_merged.add(gdstk.Reference(m1_m2, (15.765,8.84)))
ffz_v2_merged.add(gdstk.Reference(nfet, (36.345,10.005)))
ffz_v2_merged.add(gdstk.Reference(nfet, (36.345,6.225), x_reflection=True))
ffz_v2_merged.add(gdstk.Reference(m1_m2, (36.555,8.255)))
ffz_v2_merged.add(gdstk.Reference(m1_m2, (37.815,7.695)))
ffz_v2_merged.add(gdstk.Reference(m1_m2, (35.995,6.575)))
ffz_v2_merged.add(gdstk.Reference(m1_m2, (38.845,6.575)))
ffz_v2_merged.add(gdstk.Reference(m1_m2, (41.905,7.135)))
ffz_v2_merged.add(gdstk.Reference(m1_m2, (39.865,8.255)))
ffz_v2_merged.add(gdstk.Reference(m1_m2, (39.865,7.695)))
ffz_v2_merged.add(gdstk.Reference(m1_m2, (41.905,7.695)))
ffz_v2_merged.add(gdstk.Reference(m1_m2, (43.945,7.695)))
ffz_v2_merged.add(gdstk.Reference(m1_m2, (54.355,8.255), rotation=pi, x_reflection=True))
ffz_v2_merged.add(gdstk.Reference(m1_m2, (53.095,7.695), rotation=pi, x_reflection=True))
ffz_v2_merged.add(gdstk.Reference(m1_m2, (54.915,6.575), rotation=pi, x_reflection=True))
ffz_v2_merged.add(gdstk.Reference(m1_m2, (52.065,6.575), rotation=pi, x_reflection=True))
ffz_v2_merged.add(gdstk.Reference(m1_m2, (49.005,7.135), rotation=pi, x_reflection=True))
ffz_v2_merged.add(gdstk.Reference(m1_m2, (51.045,8.255), rotation=pi, x_reflection=True))
ffz_v2_merged.add(gdstk.Reference(m1_m2, (51.045,7.695), rotation=pi, x_reflection=True))
ffz_v2_merged.add(gdstk.Reference(m1_m2, (49.005,7.695), rotation=pi, x_reflection=True))
ffz_v2_merged.add(gdstk.Reference(m1_m2, (46.965,7.695), rotation=pi, x_reflection=True))
ffz_v2_merged.add(gdstk.Reference(m1_m2, (43.945,8.815)))
ffz_v2_merged.add(gdstk.Reference(m1_m2, (46.965,9.375), rotation=pi, x_reflection=True))
ffz_v2_merged.add(gdstk.Reference(m1_m2, (40.885,6.575)))
ffz_v2_merged.add(gdstk.Reference(m1_m2, (42.925,6.575)))
ffz_v2_merged.add(gdstk.Reference(m1_m2, (44.965,6.575)))
ffz_v2_merged.add(gdstk.Reference(m1_m2, (47.005,6.575)))
ffz_v2_merged.add(gdstk.Reference(m1_m2, (49.045,6.575)))
ffz_v2_merged.add(gdstk.Reference(m1_m2, (49.045,22.935), x_reflection=True))
ffz_v2_merged.add(gdstk.Reference(m1_m2, (47.005,22.935), x_reflection=True))
ffz_v2_merged.add(gdstk.Reference(m1_m2, (44.965,22.935), x_reflection=True))
ffz_v2_merged.add(gdstk.Reference(m1_m2, (42.925,22.935), x_reflection=True))
ffz_v2_merged.add(gdstk.Reference(m1_m2, (40.885,22.935), x_reflection=True))
ffz_v2_merged.add(gdstk.Reference(m1_m2, (43.945,20.135), x_reflection=True))
ffz_v2_merged.add(gdstk.Reference(m1_m2, (46.965,20.695), rotation=pi))
ffz_v2_merged.add(gdstk.Reference(m1_m2, (46.965,21.815), rotation=pi))
ffz_v2_merged.add(gdstk.Reference(m1_m2, (49.005,21.815), rotation=pi))
ffz_v2_merged.add(gdstk.Reference(m1_m2, (51.045,21.815), rotation=pi))
ffz_v2_merged.add(gdstk.Reference(m1_m2, (51.045,21.255), rotation=pi))
ffz_v2_merged.add(gdstk.Reference(m1_m2, (49.005,22.375), rotation=pi))
ffz_v2_merged.add(gdstk.Reference(m1_m2, (52.065,22.935), rotation=pi))
ffz_v2_merged.add(gdstk.Reference(m1_m2, (54.915,22.935), rotation=pi))
ffz_v2_merged.add(gdstk.Reference(m1_m2, (53.095,21.815), rotation=pi))
ffz_v2_merged.add(gdstk.Reference(m1_m2, (54.355,21.255), rotation=pi))
ffz_v2_merged.add(gdstk.Reference(m1_m2, (43.945,21.815), x_reflection=True))
ffz_v2_merged.add(gdstk.Reference(m1_m2, (41.905,21.815), x_reflection=True))
ffz_v2_merged.add(gdstk.Reference(m1_m2, (39.865,21.815), x_reflection=True))
ffz_v2_merged.add(gdstk.Reference(m1_m2, (39.865,21.255), x_reflection=True))
ffz_v2_merged.add(gdstk.Reference(m1_m2, (41.905,22.375), x_reflection=True))
ffz_v2_merged.add(gdstk.Reference(m1_m2, (38.845,22.935), x_reflection=True))
ffz_v2_merged.add(gdstk.Reference(m1_m2, (35.995,22.935), x_reflection=True))
ffz_v2_merged.add(gdstk.Reference(m1_m2, (37.815,21.815), x_reflection=True))
ffz_v2_merged.add(gdstk.Reference(m1_m2, (36.555,21.255), x_reflection=True))
ffz_v2_merged.add(gdstk.Reference(nfet, (36.345,23.285)))
ffz_v2_merged.add(gdstk.Reference(nfet, (36.345,19.505), x_reflection=True))
ffz_v2_merged.add(gdstk.Reference(m1_m2, (37.825,13.775)))
ffz_v2_merged.add(gdstk.Reference(m1_m2, (39.865,14.335)))
ffz_v2_merged.add(gdstk.Reference(m1_m2, (41.905,13.775)))
ffz_v2_merged.add(gdstk.Reference(m1_m2, (48.025,13.775)))
ffz_v2_merged.add(gdstk.Reference(m1_m2, (50.065,14.335)))
ffz_v2_merged.add(gdstk.Reference(m1_m2, (52.105,13.775)))
ffz_v2_merged.add(gdstk.Reference(m1_m2, (43.945,15.455)))
ffz_v2_merged.add(gdstk.Reference(m1_m2, (43.945,14.895)))
ffz_v2_merged.add(gdstk.Reference(m1_m2, (45.775,15.455)))
ffz_v2_merged.add(gdstk.Reference(m1_m2, (46.195,14.895)))

lib.write_gds('FFZ_v2_merged.gds')
